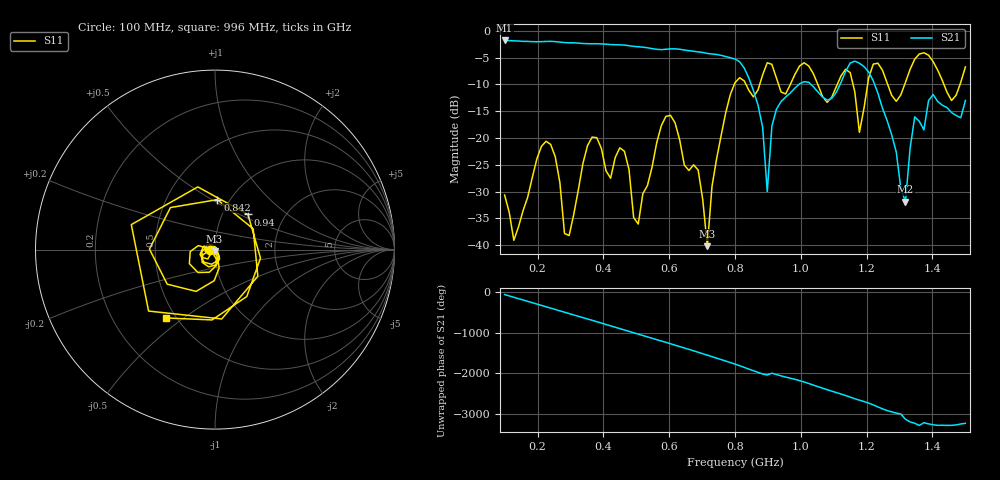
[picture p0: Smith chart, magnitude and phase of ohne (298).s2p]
! NanoVNA-App
! Date: 2025-09-25 14:23:07
! Start: 100MHz Stop: 1,5GHz Points: 101
! S-Parameter data: F S11 S21 S12 S22
# Hz S RI R 50
!  Frequency  S11_Real  S11_Imag  S21_Real  S21_Imag  S12_Real  S12_Imag  S22_Real  S22_Imag
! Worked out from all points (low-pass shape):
!   101 points, 100 MHz to 1.5 GHz, reference 50 ohm
!   highest |S21| = -1.79 dB at 100 MHz (marker M1); lowest = -31.9 dB at 1.318 GHz (marker M2)
!   |S21| within 3 dB of the highest: start of sweep to 771.8 MHz
!   lowest |S11| = -40.2 dB at 716 MHz (marker M3), VSWR 1.02, Z = 49.7 - j0.941 ohm
!   |S11| at or under -10 dB: start of sweep to 797.9 MHz; 833.3 MHz to 875.1 MHz (41.8 MHz wide, 4.89 % of centre); 1.052 GHz to 1.111 GHz (59.17 MHz wide, 5.47 % of centre) (the widest 3 of 7)
!   S12 and S22 are empty: the file has one direction only
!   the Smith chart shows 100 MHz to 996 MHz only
!   S11 on the Smith chart (normalised r, x): 100 MHz: 0.94, -0.01; 842 MHz: 0.88, +0.53; 940 MHz: 1.32, +0.56; 996 MHz: 0.44, -0.43
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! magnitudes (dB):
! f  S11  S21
! 100 MHz  -30.6  -1.8
! 128 MHz  -39.1  -1.9
! 226 MHz  -20.6  -2.0
! 296 MHz  -38.2  -2.2
! 338 MHz  -24.7  -2.4
! 464 MHz  -22.5  -2.7
! 506 MHz  -36.1  -3.0
! 576 MHz  -17.7  -3.5
! 688 MHz  -26.0  -3.9
! 716 MHz  -40.2  -4.2
! 800 MHz  -9.7  -5.3
! 842 MHz  -11.1  -8.8
! 898 MHz  -5.9  -30.0
! 940 MHz  -11.4  -13.2
! 996 MHz  -6.6  -9.9
! 1.038 GHz  -8.0  -10.4
! 1.178 GHz  -18.9  -6.0
! 1.22 GHz  -6.2  -9.3
! 1.276 GHz  -12.0  -19.4
! 1.318 GHz  -9.6  -31.9
! 1.346 GHz  -5.3  -16.1
! 1.5 GHz  -6.7  -13.0
